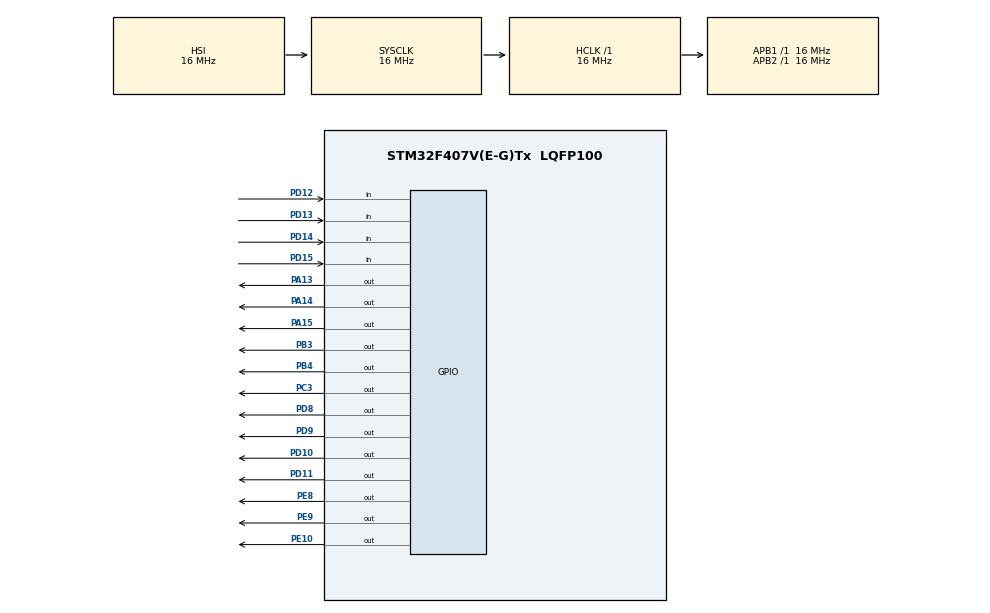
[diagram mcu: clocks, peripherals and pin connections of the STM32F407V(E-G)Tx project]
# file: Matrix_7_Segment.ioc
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Mcu.Family=STM32F4
Mcu.Name=STM32F407V(E-G)Tx
Mcu.Package=LQFP100
NVIC.PriorityGroup=NVIC_PRIORITYGROUP_4
PA13.Signal=GPIO_Output
PA14.Signal=GPIO_Output
PA15.Signal=GPIO_Output
PB3.Signal=GPIO_Output
PB4.Signal=GPIO_Output
PC3.Signal=GPIO_Output
PD10.Signal=GPIO_Output
PD11.Signal=GPIO_Output
PD12.GPIO_PuPd=GPIO_PULLUP
PD12.Signal=GPIO_Input
PD13.GPIO_PuPd=GPIO_PULLUP
PD13.Signal=GPIO_Input
PD14.GPIO_PuPd=GPIO_PULLUP
PD14.Signal=GPIO_Input
PD15.GPIO_PuPd=GPIO_PULLUP
PD15.Signal=GPIO_Input
PD8.Signal=GPIO_Output
PD9.Signal=GPIO_Output
PE10.Signal=GPIO_Output
PE8.Signal=GPIO_Output
PE9.Signal=GPIO_Output
ProjectManager.HeapSize=0x200
ProjectManager.StackSize=0x400
ProjectManager.TargetToolchain=STM32CubeIDE
RCC.AHBFreq_Value=16000000
RCC.APB1Freq_Value=16000000
RCC.APB2Freq_Value=16000000
RCC.CortexFreq_Value=16000000
RCC.HSE_VALUE=25000000
RCC.HSI_VALUE=16000000
RCC.LSE_VALUE=32768
RCC.SYSCLKFreq_VALUE=16000000
RCC.VCOOutputFreq_Value=192000000
board=custom

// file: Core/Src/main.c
/* USER CODE BEGIN Header */
/**
  ******************************************************************************
  * @file           : main.c
  * @brief          : Main program body
  ******************************************************************************
  * @attention
  *
  * Copyright (c) 2025 STMicroelectronics.
  * All rights reserved.
  *
  * This software is licensed under terms that can be found in the LICENSE file
  * in the root directory of this software component.
  * If no LICENSE file comes with this software, it is provided AS-IS.
  *
  ******************************************************************************
  */
/* USER CODE END Header */
#include "main.h"

/* USER CODE BEGIN PM */
// Define segment connections (Modify according to your setup)
#define SEG_A    GPIOE, GPIO_PIN_8
#define SEG_B    GPIOE, GPIO_PIN_9
#define SEG_C    GPIOE, GPIO_PIN_10
#define SEG_D    GPIOB, GPIO_PIN_3
#define SEG_E    GPIOA, GPIO_PIN_15
#define SEG_F    GPIOA, GPIO_PIN_14
#define SEG_G    GPIOA, GPIO_PIN_13
#define SEG_DP   GPIOB, GPIO_PIN_4  // Decimal Point (Not used for numbers 0-9)

// Define Row Pins (Outputs)
#define ROW1 GPIO_PIN_8
#define ROW2 GPIO_PIN_9
#define ROW3 GPIO_PIN_10
#define ROW4 GPIO_PIN_11
#define ROW_PORT GPIOD

// Define Column Pins (Inputs)
#define COL1 GPIO_PIN_12
#define COL2 GPIO_PIN_13
#define COL3 GPIO_PIN_14
#define COL4 GPIO_PIN_15
#define COL_PORT GPIOD

/* USER CODE END PM */

/* USER CODE BEGIN PV */
// 7-Segment Display Hexadecimal Patterns (Common Cathode)
const uint8_t SEGMENT_MAP[16] = {
    0b00111111, // 0
    0b00000110, // 1
    0b01011011, // 2
    0b01001111, // 3
    0b01100110, // 4
    0b01101101, // 5
    0b01111101, // 6
    0b00000111, // 7
    0b01111111, // 8
    0b01101111, // 9
    0b01110111, // A
    0b01111100, // B
    0b00111001, // C
    0b01011110, // D
    0b01111001, // E
    0b01110001  // F
};

// Keypad Mapped Directly to 0-F (Hex)
const uint8_t KEYPAD_MAP[4][4] = {
    {0x0, 0x1, 0x2, 0x3},
    {0x4, 0x5, 0x6, 0x7},
    {0x8, 0x9, 0xA, 0xB},
    {0xC, 0xD, 0xE, 0xF}
};

char key;
/* USER CODE END PV */

void SystemClock_Config(void);
static void MX_GPIO_Init(void);

/* USER CODE BEGIN 0 */
// Function to set segment states
void Display_Number(uint8_t num) {
    if (num > 15) return; // Allow full 0-F range

    uint8_t pattern = SEGMENT_MAP[num];

    HAL_GPIO_WritePin(SEG_A, (pattern & 0x01) ? GPIO_PIN_SET : GPIO_PIN_RESET);
    HAL_GPIO_WritePin(SEG_B, (pattern & 0x02) ? GPIO_PIN_SET : GPIO_PIN_RESET);
    HAL_GPIO_WritePin(SEG_C, (pattern & 0x04) ? GPIO_PIN_SET : GPIO_PIN_RESET);
    HAL_GPIO_WritePin(SEG_D, (pattern & 0x08) ? GPIO_PIN_SET : GPIO_PIN_RESET);
    HAL_GPIO_WritePin(SEG_E, (pattern & 0x10) ? GPIO_PIN_SET : GPIO_PIN_RESET);
    HAL_GPIO_WritePin(SEG_F, (pattern & 0x20) ? GPIO_PIN_SET : GPIO_PIN_RESET);
    HAL_GPIO_WritePin(SEG_G, (pattern & 0x40) ? GPIO_PIN_SET : GPIO_PIN_RESET);
}

// Function to Scan Keypad
int8_t Keypad_Scan(void) {
    for (uint8_t row = 0; row < 4; row++) {
        // Set all rows HIGH first
        HAL_GPIO_WritePin(ROW_PORT, ROW1 | ROW2 | ROW3 | ROW4, GPIO_PIN_SET);

        // Pull one row LOW
        uint16_t row_pins[4] = {ROW1, ROW2, ROW3, ROW4};
        HAL_GPIO_WritePin(ROW_PORT, row_pins[row], GPIO_PIN_RESET);
        HAL_Delay(5);  // Small delay for signal stabilization

        // Check columns
        if (HAL_GPIO_ReadPin(COL_PORT, COL1) == GPIO_PIN_RESET) return KEYPAD_MAP[row][0];
        if (HAL_GPIO_ReadPin(COL_PORT, COL2) == GPIO_PIN_RESET) return KEYPAD_MAP[row][1];
        if (HAL_GPIO_ReadPin(COL_PORT, COL3) == GPIO_PIN_RESET) return KEYPAD_MAP[row][2];
        if (HAL_GPIO_ReadPin(COL_PORT, COL4) == GPIO_PIN_RESET) return KEYPAD_MAP[row][3];

        HAL_Delay(10); // Debounce delay
    }
    return -1; // No key pressed
}
/* USER CODE END 0 */

int main(void)
{

  /* MCU Configuration--------------------------------------------------------*/

  /* Reset of all peripherals, Initializes the Flash interface and the Systick. */
  HAL_Init();

  /* Configure the system clock */
  SystemClock_Config();

  /* Initialize all configured peripherals */
  MX_GPIO_Init();
  /* USER CODE BEGIN 2 */

  /* Enable one 7-segment displays (Active LOW) */
  	HAL_GPIO_WritePin(GPIOC, GPIO_PIN_3, GPIO_PIN_RESET);

	for (uint8_t i = 0; i < 10; i++) {
		Display_Number(i);
		HAL_Delay(200); // Display each number for 0.5 second
	}

  /* Set all segments OFF initially */
	HAL_GPIO_WritePin(GPIOE, GPIO_PIN_8 | GPIO_PIN_9 | GPIO_PIN_10,
			GPIO_PIN_RESET);
	HAL_GPIO_WritePin(GPIOB, GPIO_PIN_3 | GPIO_PIN_4, GPIO_PIN_RESET);
	HAL_GPIO_WritePin(GPIOA, GPIO_PIN_13 | GPIO_PIN_14 | GPIO_PIN_15,
			GPIO_PIN_RESET);

  /* USER CODE END 2 */

  /* Infinite loop */
  while (1)
  {

    /* USER CODE BEGIN 3 */
	    key = Keypad_Scan();
		// If a valid key (0-F) is pressed, display it
		if (key >= 0 && key <= 15) {
			Display_Number(key);
		}

  }
  /* USER CODE END 3 */
}

void SystemClock_Config(void)
{
  RCC_OscInitTypeDef RCC_OscInitStruct = {0};
  RCC_ClkInitTypeDef RCC_ClkInitStruct = {0};

  /** Configure the main internal regulator output voltage
  */
  __HAL_RCC_PWR_CLK_ENABLE();
  __HAL_PWR_VOLTAGESCALING_CONFIG(PWR_REGULATOR_VOLTAGE_SCALE1);

  /** Initializes the RCC Oscillators according to the specified parameters
  * in the RCC_OscInitTypeDef structure.
  */
  RCC_OscInitStruct.OscillatorType = RCC_OSCILLATORTYPE_HSI;
  RCC_OscInitStruct.HSIState = RCC_HSI_ON;
  RCC_OscInitStruct.HSICalibrationValue = RCC_HSICALIBRATION_DEFAULT;
  RCC_OscInitStruct.PLL.PLLState = RCC_PLL_NONE;
  if (HAL_RCC_OscConfig(&RCC_OscInitStruct) != HAL_OK)
  {
    Error_Handler();
  }

  /** Initializes the CPU, AHB and APB buses clocks
  */
  RCC_ClkInitStruct.ClockType = RCC_CLOCKTYPE_HCLK|RCC_CLOCKTYPE_SYSCLK
                              |RCC_CLOCKTYPE_PCLK1|RCC_CLOCKTYPE_PCLK2;
  RCC_ClkInitStruct.SYSCLKSource = RCC_SYSCLKSOURCE_HSI;
  RCC_ClkInitStruct.AHBCLKDivider = RCC_SYSCLK_DIV1;
  RCC_ClkInitStruct.APB1CLKDivider = RCC_HCLK_DIV1;
  RCC_ClkInitStruct.APB2CLKDivider = RCC_HCLK_DIV1;

  if (HAL_RCC_ClockConfig(&RCC_ClkInitStruct, FLASH_LATENCY_0) != HAL_OK)
  {
    Error_Handler();
  }
}

static void MX_GPIO_Init(void)
{
  GPIO_InitTypeDef GPIO_InitStruct = {0};

  /* GPIO Ports Clock Enable */
  __HAL_RCC_GPIOC_CLK_ENABLE();
  __HAL_RCC_GPIOE_CLK_ENABLE();
  __HAL_RCC_GPIOD_CLK_ENABLE();
  __HAL_RCC_GPIOA_CLK_ENABLE();
  __HAL_RCC_GPIOB_CLK_ENABLE();

  /*Configure GPIO pin Output Level */
  HAL_GPIO_WritePin(GPIOC, GPIO_PIN_3, GPIO_PIN_RESET);

  /*Configure GPIO pin Output Level */
  HAL_GPIO_WritePin(GPIOE, GPIO_PIN_8|GPIO_PIN_9|GPIO_PIN_10, GPIO_PIN_RESET);

  /*Configure GPIO pin Output Level */
  HAL_GPIO_WritePin(GPIOD, GPIO_PIN_8|GPIO_PIN_9|GPIO_PIN_10|GPIO_PIN_11, GPIO_PIN_RESET);

  /*Configure GPIO pin Output Level */
  HAL_GPIO_WritePin(GPIOA, GPIO_PIN_13|GPIO_PIN_14|GPIO_PIN_15, GPIO_PIN_RESET);

  /*Configure GPIO pin Output Level */
  HAL_GPIO_WritePin(GPIOB, GPIO_PIN_3|GPIO_PIN_4, GPIO_PIN_RESET);

  /*Configure GPIO pin : PC3 */
  GPIO_InitStruct.Pin = GPIO_PIN_3;
  GPIO_InitStruct.Mode = GPIO_MODE_OUTPUT_PP;
  GPIO_InitStruct.Pull = GPIO_NOPULL;
  GPIO_InitStruct.Speed = GPIO_SPEED_FREQ_LOW;
  HAL_GPIO_Init(GPIOC, &GPIO_InitStruct);

  /*Configure GPIO pins : PE8 PE9 PE10 */
  GPIO_InitStruct.Pin = GPIO_PIN_8|GPIO_PIN_9|GPIO_PIN_10;
  GPIO_InitStruct.Mode = GPIO_MODE_OUTPUT_PP;
  GPIO_InitStruct.Pull = GPIO_NOPULL;
  GPIO_InitStruct.Speed = GPIO_SPEED_FREQ_LOW;
  HAL_GPIO_Init(GPIOE, &GPIO_InitStruct);

  /*Configure GPIO pins : PD8 PD9 PD10 PD11 */
  GPIO_InitStruct.Pin = GPIO_PIN_8|GPIO_PIN_9|GPIO_PIN_10|GPIO_PIN_11;
  GPIO_InitStruct.Mode = GPIO_MODE_OUTPUT_PP;
  GPIO_InitStruct.Pull = GPIO_NOPULL;
  GPIO_InitStruct.Speed = GPIO_SPEED_FREQ_LOW;
  HAL_GPIO_Init(GPIOD, &GPIO_InitStruct);

  /*Configure GPIO pins : PD12 PD13 PD14 PD15 */
  GPIO_InitStruct.Pin = GPIO_PIN_12|GPIO_PIN_13|GPIO_PIN_14|GPIO_PIN_15;
  GPIO_InitStruct.Mode = GPIO_MODE_INPUT;
  GPIO_InitStruct.Pull = GPIO_PULLUP;
  HAL_GPIO_Init(GPIOD, &GPIO_InitStruct);

  /*Configure GPIO pins : PA13 PA14 PA15 */
  GPIO_InitStruct.Pin = GPIO_PIN_13|GPIO_PIN_14|GPIO_PIN_15;
  GPIO_InitStruct.Mode = GPIO_MODE_OUTPUT_PP;
  GPIO_InitStruct.Pull = GPIO_NOPULL;
  GPIO_InitStruct.Speed = GPIO_SPEED_FREQ_LOW;
  HAL_GPIO_Init(GPIOA, &GPIO_InitStruct);

  /*Configure GPIO pins : PB3 PB4 */
  GPIO_InitStruct.Pin = GPIO_PIN_3|GPIO_PIN_4;
  GPIO_InitStruct.Mode = GPIO_MODE_OUTPUT_PP;
  GPIO_InitStruct.Pull = GPIO_NOPULL;
  GPIO_InitStruct.Speed = GPIO_SPEED_FREQ_LOW;
  HAL_GPIO_Init(GPIOB, &GPIO_InitStruct);

}

void Error_Handler(void)
{
  __disable_irq();
  while (1)
  {
  }
}
